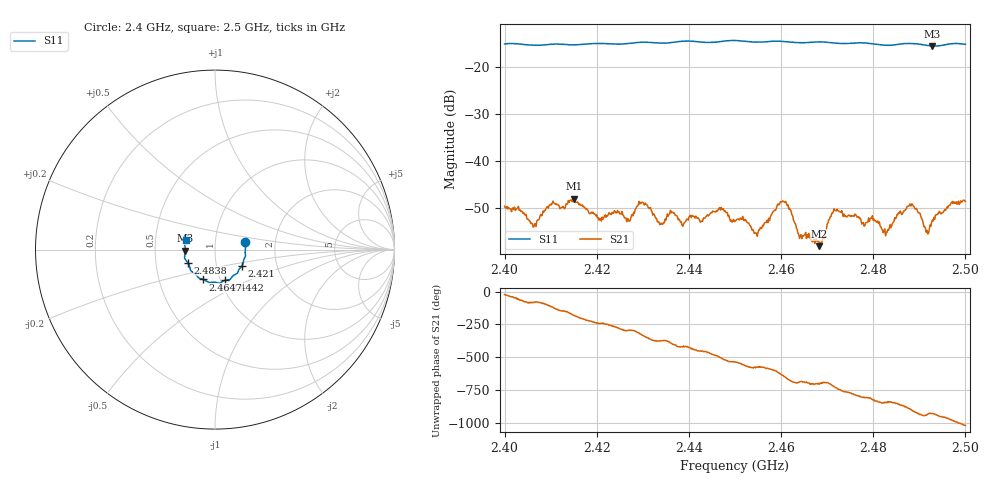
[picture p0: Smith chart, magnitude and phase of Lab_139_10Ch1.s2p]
# Hz S RI R 50
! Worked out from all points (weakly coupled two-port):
!   601 points, 2.4 GHz to 2.5 GHz, reference 50 ohm
!   highest |S21| = -48.04 dB at 2.415 GHz (marker M1); lowest = -58.1 dB at 2.4683 GHz (marker M2)
!   lowest |S11| = -15.6 dB at 2.4928 GHz (marker M3), VSWR 1.40, Z = 35.8 - j0.411 ohm
!   |S11| at or under -10 dB: start of sweep to end of sweep
!   S12 and S22 are empty: the file has one direction only
!   S11 on the Smith chart (normalised r, x): 2.4 GHz: 1.40, +0.12; 2.421 GHz: 1.33, -0.24; 2.4442 GHz: 1.05, -0.37; 2.4647 GHz: 0.83, -0.28; 2.4838 GHz: 0.73, -0.11; 2.5 GHz: 0.71, +0.08
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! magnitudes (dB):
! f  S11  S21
! 2.4 GHz  -15.2  -49.6
! 2.4063 GHz  -15.5  -54.1
! 2.415 GHz  -15.4  -48.0
! 2.4167 GHz  -15.3  -49.5
! 2.421 GHz  -15.1  -52.8
! 2.4268 GHz  -15.1  -52.3
! 2.4297 GHz  -14.8  -49.0
! 2.4333 GHz  -15.0  -52.9
! 2.4442 GHz  -14.9  -51.7
! 2.45 GHz  -14.5  -52.8
! 2.4547 GHz  -14.8  -55.4
! 2.4605 GHz  -14.7  -48.6
! 2.4647 GHz  -14.9  -55.8
! 2.4667 GHz  -14.8  -56.9
! 2.4683 GHz  -14.8  -58.1
! 2.4718 GHz  -15.0  -50.5
! 2.4833 GHz  -15.5  -54.7
! 2.4838 GHz  -15.5  -54.2
! 2.488 GHz  -15.1  -49.1
! 2.4915 GHz  -15.5  -55.2
! 2.4928 GHz  -15.6  -52.6
! 2.5 GHz  -15.3  -48.6
